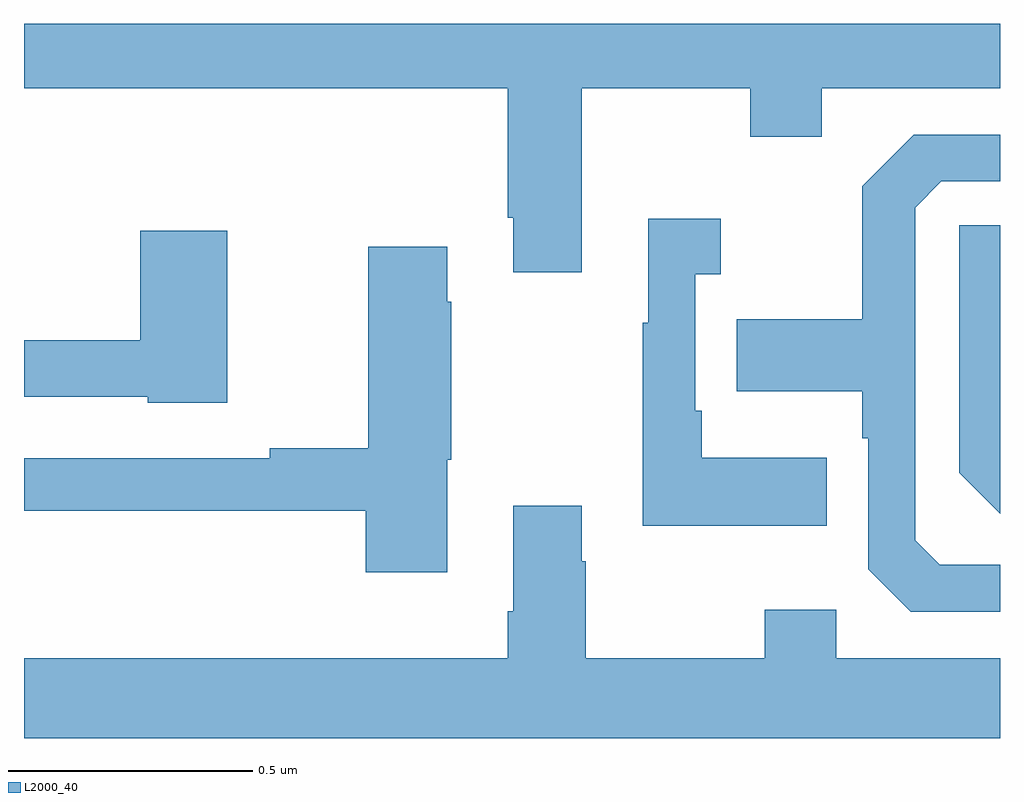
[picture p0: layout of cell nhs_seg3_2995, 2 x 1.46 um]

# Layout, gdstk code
import gdstk
lib = gdstk.Library(unit=1e-6, precision=1e-09)
def P(c, l, *ps):  # polygons
    for p in ps: c.add(gdstk.Polygon(p, *l))
L2000_40 = (2000, 40)

nhs_seg3_2995 = lib.new_cell('nhs_seg3_2995')
P(nhs_seg3_2995, L2000_40, [(149.143,682.268),(149.488,682.268),(149.488,682.169),(149.635,682.169),(149.635,682.268),(150,682.268),(150,682.4),(148,682.4),(148,682.268),(148.991,682.268),(148.991,682.003),(149.003,682.003),(149.003,681.891),(149.143,681.891)],
  [(150,681.291),(149.877,681.291),(149.826,681.342),(149.826,682.023),(149.88,682.077),(150,682.077),(150,682.173),(149.823,682.173),(149.718,682.067),(149.718,681.795),(149.461,681.795),(149.461,681.647),(149.718,681.647),(149.718,681.551),(149.73,681.551),(149.73,681.282),(149.817,681.195),(150,681.195)],
  [(149.645,681.511),(149.389,681.511),(149.389,681.607),(149.376,681.607),(149.376,681.887),(149.428,681.887),(149.428,682),(149.279,682),(149.279,681.787),(149.268,681.787),(149.268,681.371),(149.645,681.371)],
  [(150,681.987),(149.916,681.987),(149.916,681.48),(150,681.396)],
  [(148.416,681.976),(148.238,681.976),(148.238,681.752),(148,681.752),(148,681.636),(148.254,681.636),(148.254,681.623),(148.416,681.623)],
  [(148.867,681.507),(148.875,681.507),(148.875,681.83),(148.867,681.83),(148.867,681.943),(148.705,681.943),(148.705,681.53),(148.504,681.53),(148.504,681.51),(148,681.51),(148,681.402),(148.7,681.402),(148.7,681.276),(148.867,681.276)],
  [(150,681.1),(149.664,681.1),(149.664,681.199),(149.518,681.199),(149.518,681.1),(149.151,681.1),(149.151,681.299),(149.143,681.299),(149.143,681.412),(149.003,681.412),(149.003,681.196),(148.991,681.196),(148.991,681.1),(148,681.1),(148,680.936),(150,680.936)])

lib.write_gds('nhs_seg3_2995.gds')
